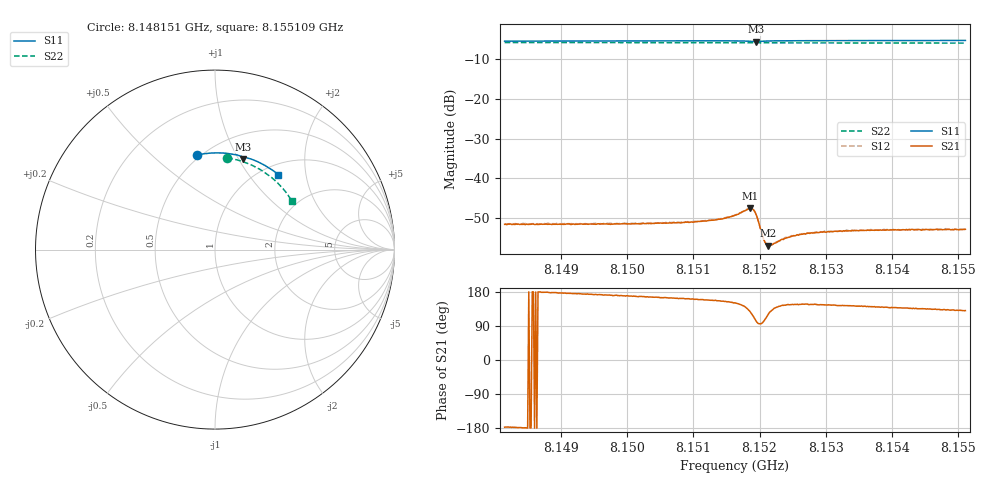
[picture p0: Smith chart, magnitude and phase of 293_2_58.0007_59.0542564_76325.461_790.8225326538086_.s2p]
#  HZ  S  RI  R  50.00
! Rohde & Schwarz Vector Network Analyzer
! Rohde-Schwarz,ZNB20-2Port,1311601062101988,3.16
! Created: UTC 3/21/2024, 1:03:22 AM
! freq[Hz]  re:S11  im:S11  re:S21  im:S21  re:S12  im:S12  re:S22  im:S22
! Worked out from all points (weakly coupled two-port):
!   401 points, 8.148151 GHz to 8.155109 GHz, reference 50 ohm
!   highest |S21| = -47.61 dB at 8.151856 GHz (marker M1); lowest = -57.0 dB at 8.152134 GHz (marker M2)
!   lowest |S11| = -5.5 dB at 8.151943 GHz (marker M3), VSWR 3.25, Z = 37.2 + j52.3 ohm
!   |S11| at or under -10 dB: nowhere
!   |S22| runs from -5.9 to -5.8 dB; largest |S21 - S12| = 0.00012
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8.1481507e9  -0.0993 0.527  -0.00262 -0.000123  -0.00265 -0.000109  0.0685 0.5108
8.1493161e9  -0.0185 0.5381  -0.00264 0.000272  -0.00266 0.000329  0.1427 0.494
8.1504816e9  0.0627 0.5366  -0.00262 0.000684  -0.00263 0.000754  0.2132 0.4665
8.1509686e9  0.0965 0.5323  -0.00266 0.000928  -0.00263 0.000999  0.2411 0.452
8.151247e9  0.1162 0.5287  -0.00272 0.00111  -0.00274 0.00115  0.2564 0.4431
8.1514557e9  0.131 0.525  -0.00282 0.0013  -0.00284 0.00139  0.2679 0.4359
8.1516296e9  0.1439 0.521  -0.00299 0.00167  -0.00297 0.00177  0.2773 0.4297
8.1518558e9  0.1588 0.5096  -0.00257 0.00328  -0.00252 0.00334  0.2891 0.4211
8.151908e9  0.1584 0.5061  -0.00168 0.00364  -0.00162 0.0037  0.2917 0.4191
8.1519428e9  0.157 0.5056  -0.000891 0.00346  -0.000874 0.00351  0.2932 0.4179
8.1519775e9  0.1563 0.5071  -0.000345 0.00293  -0.000326 0.00295  0.295 0.4168
8.1520297e9  0.1581 0.5102  -0.000228 0.00204  -0.000168 0.00205  0.2976 0.4149
8.1520645e9  0.1608 0.5115  -0.000363 0.00164  -0.000324 0.00167  0.2996 0.4137
8.1520993e9  0.1637 0.5124  -0.000543 0.0014  -0.000512 0.00139  0.3014 0.4124
8.1521341e9  0.1667 0.5126  -0.000734 0.00121  -0.000703 0.0012  0.3032 0.4109
8.1521689e9  0.1698 0.5125  -0.000895 0.00112  -0.000893 0.00113  0.305 0.4096
8.1523428e9  0.1833 0.51  -0.00138 0.000989  -0.00136 0.000979  0.3138 0.4028
8.1524646e9  0.192 0.5075  -0.00151 0.00102  -0.00153 0.00104  0.3198 0.3979
8.1527951e9  0.2145 0.4993  -0.0017 0.00112  -0.00172 0.00118  0.3357 0.3839
8.1532996e9  0.2469 0.4851  -0.00175 0.0013  -0.00173 0.00133  0.3588 0.3614
8.1539606e9  0.2875 0.4636  -0.00166 0.00149  -0.0017 0.00146  0.3865 0.3299
8.1551086e9  0.3524 0.4184  -0.00147 0.00173  -0.00144 0.00177  0.4281 0.2706
